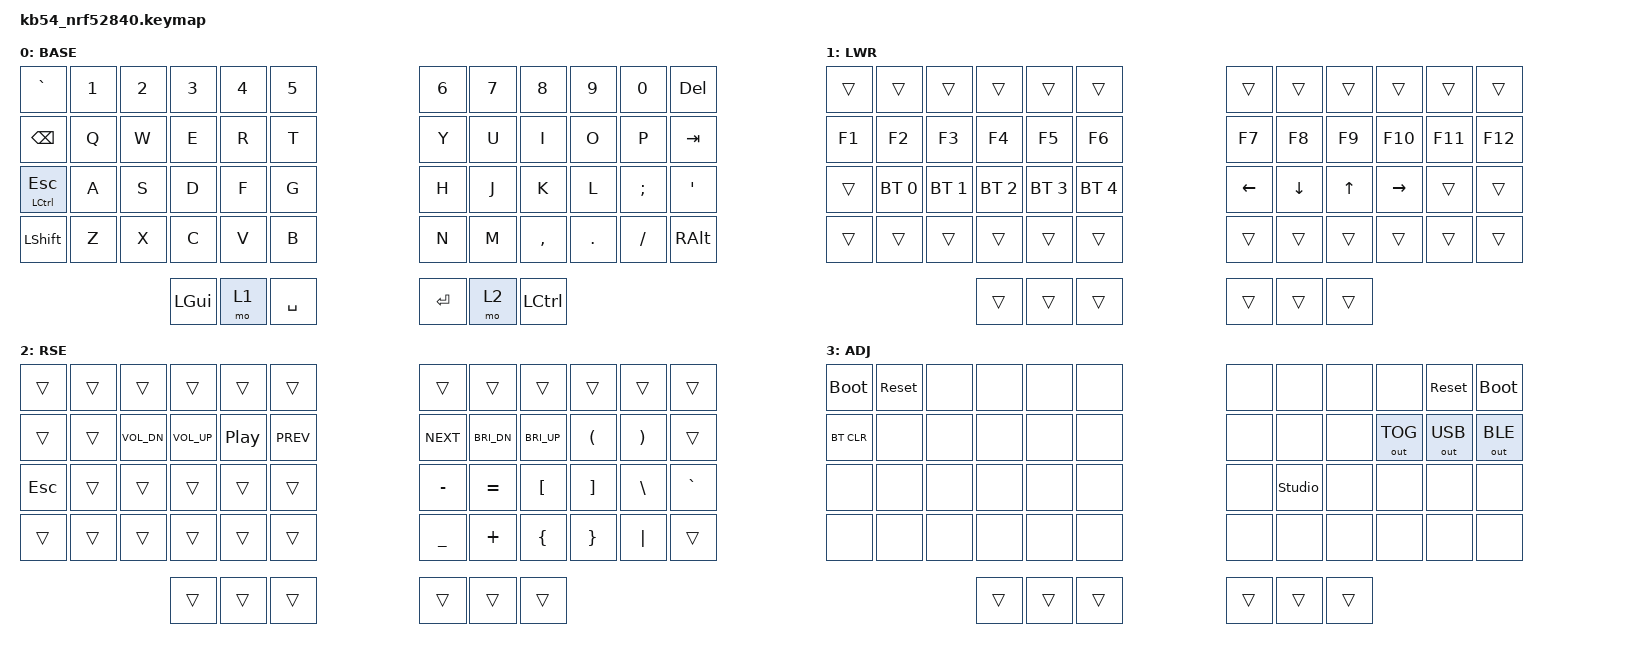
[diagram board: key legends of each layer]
/*
 * Copyright (c) 2020 The ZMK Contributors
 *
 * SPDX-License-Identifier: MIT
 */

#include <behaviors.dtsi>
#include <dt-bindings/zmk/keys.h>
#include <dt-bindings/zmk/bt.h>
#include <dt-bindings/zmk/outputs.h>

// Key position indices, for use with hold-trigger-key-positions below.
// Row layout: 4 rows of 12 (6 left + 6 right), then 6 thumb keys (3 left, 3 right).
#define KEYS_L  0  1  2  3  4  5   12 13 14 15 16 17   24 25 26 27 28 29   36 37 38 39 40 41
#define KEYS_R  6  7  8  9 10 11   18 19 20 21 22 23   30 31 32 33 34 35   42 43 44 45 46 47
#define THUMBS 48 49 50 51 52 53

/ {
        conditional_layers {
                compatible = "zmk,conditional-layers";
                tri_layer {
                        if-layers = <1 2>;
                        then-layer = <3>;
                };
        };

        keymap {
                compatible = "zmk,keymap";

                default_layer {
                        display-name = "BASE";
                        // ,-------------------------------------------------------------------------.
                        // | GRAVE |  N1  |  N2  |  N3  |  N4  |  N5  |  N6  |  N7  |  N8  |  N9  |  N0  |  DEL |
                        // |-------+------+------+------+------+------+------+------+------+------+------+------|
                        // |  BSPC |   Q  |   W  |   E  |   R  |   T  |   Y  |   U  |   I  |   O  |   P  |  TAB |
                        // |-------+------+------+------+------+------+------+------+------+------+------+------|
                        // |ESC/CTL| A    | S    | D    | F    |   G  |   H  | J    | K    | L    |;     |   '  |
                        // |-------+------+------+------+------+------+------+------+------+------+------+------|
                        // | LSHFT |   Z  |   X  |   C  |   V  |   B  |   N  |   M  |   ,  |   .  |   /  | RALT |
                        // `-------+------+------+------+------+------+------+------+------+------+------+------'
                        //               | LGUI | MO 1 | SPACE |       |  RET | MO 2 | LCTRL|
                        //               `--------------------'       `--------------------'
                        bindings = <
   &kp GRAVE  &kp N1    &kp N2   &kp N3   &kp N4    &kp N5      &kp N6    &kp N7    &kp N8   &kp N9    &kp N0     &kp DEL
   &kp BSPC   &kp Q     &kp W    &kp E    &kp R     &kp T       &kp Y     &kp U     &kp I    &kp O     &kp P      &kp TAB
   &mt LCTRL ESC &kp A    &kp  S   &kp  D   &kp  F    &kp G       &kp H     &kp  J    &kp  K   &kp  L    &kp  SEMI  &kp SQT
   &kp LSHFT  &kp Z     &kp X    &kp C    &kp V     &kp B       &kp N     &kp M     &kp COMMA &kp DOT   &kp FSLH   &kp RALT
                                  &kp LGUI &mo 1     &kp SPACE   &kp RET   &mo 2     &kp LCTRL
                        >;
                };

                lower_layer {
                        display-name = "LWR";
                        // ,-------------------------------------------------------------------------.
                        // | trans | trans| trans| trans| trans| trans| trans| trans| trans| trans| trans| trans|
                        // |-------+------+------+------+------+------+------+------+------+------+------+------|
                        // |   F1  |  F2  |  F3  |  F4  |  F5  |  F6  |  F7  |  F8  |  F9  |  F10 |  F11 |  F12 |
                        // |-------+------+------+------+------+------+------+------+------+------+------+------|
                        // | trans |BTSEL0|BTSEL1|BTSEL2|BTSEL3|BTSEL4| LEFT | DOWN |  UP  | RIGHT| trans| trans|
                        // |-------+------+------+------+------+------+------+------+------+------+------+------|
                        // | trans | trans| trans| trans| trans| trans| trans| trans| trans| trans| trans| trans|
                        // `-------+------+------+------+------+------+------+------+------+------+------+------'
                        //               | trans| trans| trans |       | trans| trans| trans|
                        //               `--------------------'       `--------------------'
                        bindings = <
   &trans     &trans        &trans        &trans        &trans        &trans          &trans      &trans      &trans      &trans      &trans      &trans
   &kp F1     &kp F2        &kp F3        &kp F4        &kp F5        &kp F6          &kp F7      &kp F8      &kp F9      &kp F10     &kp F11     &kp F12
   &trans     &bt BT_SEL 0  &bt BT_SEL 1  &bt BT_SEL 2  &bt BT_SEL 3  &bt BT_SEL 4    &kp LEFT    &kp DOWN    &kp UP      &kp RIGHT   &trans      &trans
   &trans     &trans        &trans        &trans        &trans        &trans          &trans      &trans      &trans      &trans      &trans      &trans
                                           &trans        &trans        &trans          &trans      &trans      &trans
                        >;
                };

                raise_layer {
                        display-name = "RSE";
                        // ,-------------------------------------------------------------------------.
                        // | trans | trans| trans| trans| trans| trans| trans| trans| trans| trans| trans| trans|
                        // |-------+------+------+------+------+------+------+------+------+------+------+------|
                        // | trans | trans|VOL DN|VOL UP| PLAY | PREV | NEXT |BRI DN|BRI UP|   (  |   )  | trans|
                        // |-------+------+------+------+------+------+------+------+------+------+------+------|
                        // |  ESC  | trans| trans| trans| trans| trans|   -  |   =  |   [  |   ]  |   \  |   `  |
                        // |-------+------+------+------+------+------+------+------+------+------+------+------|
                        // | trans | trans| trans| trans| trans| trans|   _  |   +  |   {  |   }  |   |  | trans|
                        // `-------+------+------+------+------+------+------+------+------+------+------+------'
                        //               | trans| trans| trans |       | trans| trans| trans|
                        //               `--------------------'       `--------------------'
                        bindings = <
   &trans    &trans     &trans          &trans          &trans      &trans              &trans      &trans          &trans          &trans      &trans   &trans
   &trans    &trans     &kp C_VOL_DN    &kp C_VOL_UP    &kp C_PP    &kp C_PREV          &kp C_NEXT  &kp C_BRI_DN    &kp C_BRI_UP    &kp LPAR    &kp RPAR &trans
   &kp ESC   &trans     &trans          &trans          &trans      &trans              &kp MINUS   &kp EQUAL       &kp LBKT        &kp RBKT    &kp BSLH &kp GRAVE
   &trans    &trans     &trans          &trans          &trans      &trans              &kp UNDER   &kp PLUS        &kp LBRC        &kp RBRC    &kp PIPE &trans
                                         &trans          &trans      &trans              &trans      &trans          &trans
                        >;
                };

                adjust_layer {
                        display-name = "ADJ";
                        // Activated automatically when LWR and RSE are both held (see conditional_layers).
                        // ,-------------------------------------------------------------------------.
                        // |  BOOT | RESET| none | none | none | none | none | none | none | none |RESET |  BOOT|
                        // |-------+------+------+------+------+------+------+------+------+------+------+------|
                        // | BTCLR | none | none | none | none | none | none | none | none |OUTTOG|OUTUSB|OUTBLE|
                        // |-------+------+------+------+------+------+------+------+------+------+------+------|
                        // | none  | none | none | none | none | none | none |STUDIO| none | none | none | none |
                        // |-------+------+------+------+------+------+------+------+------+------+------+------|
                        // | none  | none | none | none | none | none | none | none | none | none | none | none |
                        // `-------+------+------+------+------+------+------+------+------+------+------+------'
                        //               | trans| trans| trans |       | trans| trans| trans|
                        //               `--------------------'       `--------------------'
                        bindings = <
   &bootloader &sys_reset &none  &none  &none  &none         &none  &none  &none  &none        &sys_reset  &bootloader
   &bt BT_CLR  &none      &none  &none  &none  &none         &none  &none  &none  &out OUT_TOG &out OUT_USB &out OUT_BLE
   &none       &none      &none  &none  &none  &none         &none  &studio_unlock &none &none &none        &none
   &none       &none      &none  &none  &none  &none         &none  &none  &none  &none        &none        &none
                                  &trans &trans &trans        &trans &trans &trans
                        >;
                };
        };
};
